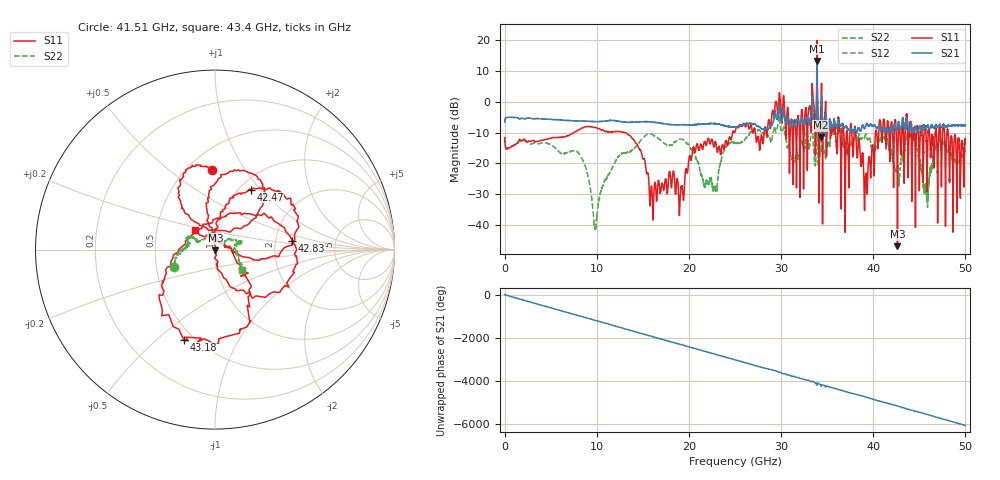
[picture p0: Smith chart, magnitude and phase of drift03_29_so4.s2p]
!Created with skrf (http://scikit-rf.org).
# Hz S RI R 50.0
!freq ReS11 ImS11 ReS21 ImS21 ReS12 ImS12 ReS22 ImS22
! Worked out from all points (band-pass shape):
!   10001 points, 300 kHz to 50 GHz, reference 50 ohm
!   highest |S21| = 13.20 dB at 33.9 GHz (marker M1); lowest = -11.5 dB at 34.32 GHz (marker M2)
!   |S21| within 3 dB of the highest: 33.89035 GHz to 33.90506 GHz (14.71 MHz wide, 0.0434 % of centre)
!   lowest |S11| = -46.8 dB at 42.63 GHz (marker M3), VSWR 1.01, Z = 50.2 - j0.396 ohm
!   |S11| at or under -10 dB: start of sweep to 7.486 GHz; 13.13 GHz to 24.74 GHz (11.61 GHz wide, 61.3 % of centre); 38.09 GHz to 40.25 GHz (2.163 GHz wide, 5.52 % of centre) (the widest 3 of 47)
!   |S22| runs from -41.4 to 5.6 dB; largest |S21 - S12| = 0.34
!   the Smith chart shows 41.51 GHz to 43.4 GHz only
!   S11 on the Smith chart (normalised r, x): 41.51 GHz: 0.65, +0.72; 42.47 GHz: 1.13, +0.89; 42.83 GHz: 2.49, +0.29; 43.18 GHz: 0.44, -0.61; 43.4 GHz: 0.78, +0.17
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300000  -0.2354 -0.1168  0.4649 0.0763  0.4646 0.078  -0.2346 -0.1224
1.440291e9  0.2101 0.0648  -0.5479 -0.0294  -0.5483 -0.0291  0.2112 -0.00431
2.915283e9  -0.2122 -0.0881  0.5345 0.0518  0.5346 0.0517  -0.2024 0.0402
4.415274e9  0.2061 0.1322  -0.5218 -0.0423  -0.5221 -0.0422  0.1982 -0.0873
8.33525e9  0.289 -0.2336  0.1461 0.4662  0.1461 0.4665  -0.073 -0.101
9.845241e9  -0.3635 0.1289  -0.1482 -0.4525  -0.1483 -0.4522  0.00889 0.00234
1.66702e10  0.027 0.0445  -0.3787 0.2532  -0.379 0.2535  -0.1272 -0.2193
2.500015e10  -0.3263 -0.0148  -0.2555 -0.2962  -0.2537 -0.2989  -0.2148 0.0258
2.895513e10  -0.3251 0.4324  -0.2886 0.3263  -0.2993 0.2909  0.0642 0.2209
3.006512e10  0.3977 0.2677  0.45 -0.1968  0.4532 -0.1831  0.1747 -0.2979
3.171011e10  -0.0919 0.1871  -0.3616 0.3575  -0.3619 0.354  0.0646 0.1589
3.33351e10  0.5988 -0.8009  0.2493 -0.8298  0.2504 -0.8077  -0.1811 -0.4175
3.38951e10  -2.68 -9.478  -4.486 0.888  -4.189 1.063  0.5362 1.833
3.432009e10  -0.7801 0.001  -0.18 0.1971  -0.2418 0.177  0.1433 -0.0709
4.151005e10  -0.0181 0.445  0.3334 0.1309  0.3354 0.1324  -0.2284 -0.0944
4.167005e10  -0.1976 0.3037  0.3135 0.00472  0.3142 0.00952  -0.1901 -0.01
4.247005e10  0.1992 0.3339  0.0232 -0.3575  0.0267 -0.355  -0.0275 0.0686
4.263004e10  0.0023 -0.00394  -0.1683 -0.3419  -0.1635 -0.3451  -0.0219 0.0909
4.283004e10  0.4313 0.0473  -0.2566 -0.3243  -0.2547 -0.3279  0.0352 0.0393
4.318004e10  -0.1748 -0.5013  -0.5307 0.0634  -0.5328 0.0601  0.1299 0.0341
4.340004e10  -0.111 0.1081  -0.3259 0.1831  -0.3262 0.179  0.1504 -0.1117
5e10  -0.1156 -0.2196  0.141 0.3857  0.1407 0.3849  -0.0555 -0.1448
